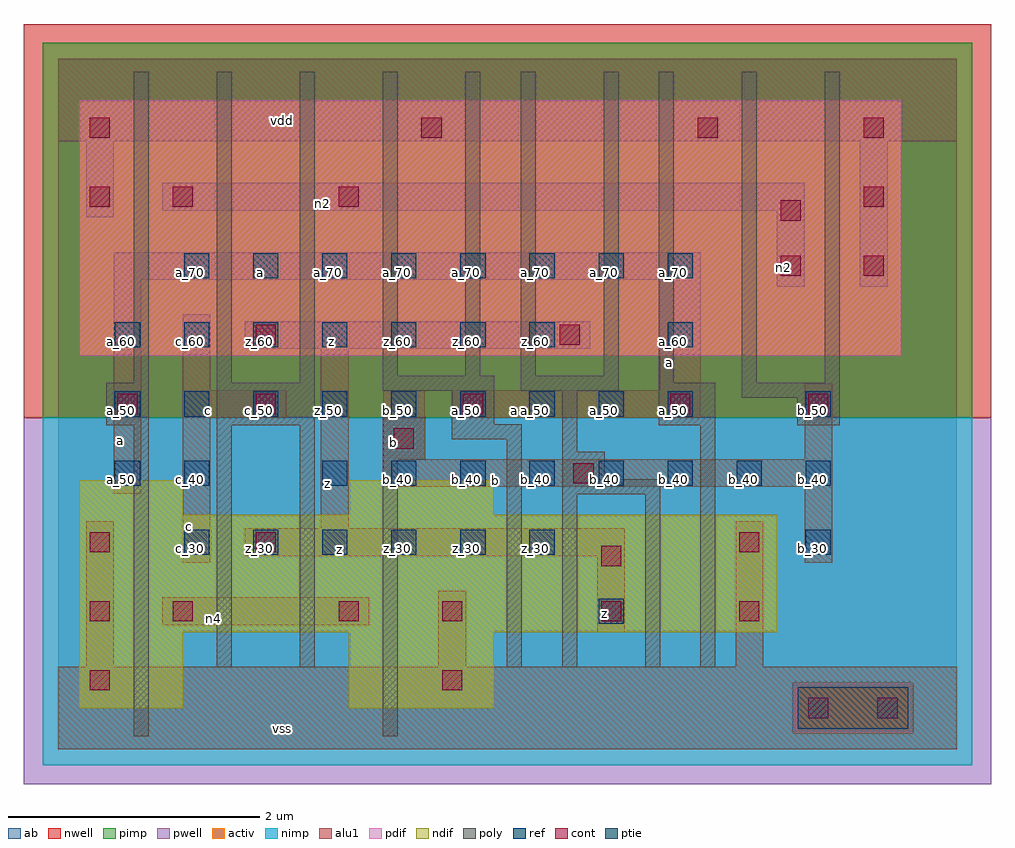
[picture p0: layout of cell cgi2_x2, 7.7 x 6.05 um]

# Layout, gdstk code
import gdstk
lib = gdstk.Library(unit=1e-6, precision=2.5e-09)
def R(c, l, rs):  # rectangles x0, y0, x1, y1
    for r in rs: c.add(gdstk.rectangle(r[:2], r[2:], *l))
def A(c, l, x, y, w, h, nx, ny, dx, dy):  # array of equal rectangles
    R(c, l, [(x+i*dx, y+j*dy, x+i*dx+w, y+j*dy+h) for i in range(nx) for j in range(ny)])
ndif = (3, 0)
pdif = (4, 0)
ptie = (6, 0)
ref = (24, 0)
cont = (25, 0)
pwell = (41, 0)
nwell = (42, 0)
activ = (43, 0)
pimp = (44, 0)
nimp = (45, 0)
poly = (46, 0)
alu1 = (49, 0)
ab = (63, 0)

cgi2_x2 = lib.new_cell('cgi2_x2')
R(cgi2_x2, ndif, [(0.165,0.33,0.99,0.935), (2.31,0.33,3.465,0.935), (0.165,0.935,5.72,1.87), (0.165,1.87,0.99,2.145), (2.31,1.87,3.465,2.145)])
R(cgi2_x2, pdif, [(0.165,3.135,6.71,5.17)])
R(cgi2_x2, ptie, [(5.885,0.165,6.765,0.495)])
A(cgi2_x2, ref, 1, 1.55, 0.2, 0.2, 6, 1, 0.55, 0)
A(cgi2_x2, ref, 2.1, 2.1, 0.2, 0.2, 8, 1, 0.55, 0)
A(cgi2_x2, ref, 0.45, 2.65, 0.2, 0.2, 9, 1, 0.55, 0)
A(cgi2_x2, ref, 0.45, 3.2, 0.2, 0.2, 7, 1, 0.55, 0)
A(cgi2_x2, ref, 1, 3.75, 0.2, 0.2, 8, 1, 0.55, 0)
R(cgi2_x2, ref, [(4.3,1,4.5,1.2), (5.95,1.55,6.15,1.75), (0.45,2.1,0.65,2.3), (1,2.1,1.2,2.3), (5.95,2.65,6.15,2.85), (4.85,3.2,5.05,3.4)])
A(cgi2_x2, cont, 0.25, 0.47, 0.16, 0.16, 1, 3, 0, 0.55)
A(cgi2_x2, cont, 1.57, 2.67, 0.16, 0.16, 3, 1, 1.65, 0)
A(cgi2_x2, cont, 6.41, 3.77, 0.16, 0.16, 1, 3, 0, 0.55)
R(cgi2_x2, cont, [(5.97,0.25,6.13,0.41), (6.52,0.25,6.68,0.41), (3.055,0.47,3.215,0.63), (0.91,1.02,1.07,1.18), (2.23,1.02,2.39,1.18), (3.055,1.02,3.215,1.18), (4.32,1.02,4.48,1.18), (5.42,1.02,5.58,1.18), (4.32,1.46,4.48,1.62), (1.57,1.57,1.73,1.73), (5.42,1.57,5.58,1.73), (4.1,2.12,4.26,2.28), (2.67,2.395,2.83,2.555), (0.47,2.67,0.63,2.83), (5.97,2.67,6.13,2.83), (1.57,3.22,1.73,3.38), (3.99,3.22,4.15,3.38), (5.75,3.77,5.91,3.93), (5.75,4.21,5.91,4.37), (0.25,4.32,0.41,4.48), (0.91,4.32,1.07,4.48), (2.23,4.32,2.39,4.48), (0.25,4.87,0.41,5.03), (2.89,4.87,3.05,5.03), (5.09,4.87,5.25,5.03)])
R(cgi2_x2, pwell, [(-0.275,-0.275,7.425,2.64)])
R(cgi2_x2, nwell, [(-0.275,2.64,7.425,5.775)])
R(cgi2_x2, activ, [(5.885,0.165,6.765,0.495), (0.165,0.33,0.99,0.935), (2.31,0.33,3.465,0.935), (0.165,0.935,5.72,1.87), (0.165,1.87,0.99,2.145), (2.31,1.87,3.465,2.145), (0.165,3.135,6.71,5.17)])
R(cgi2_x2, pimp, [(5.845,0.125,6.805,0.535), (-0.125,2.64,7.275,5.625)])
R(cgi2_x2, nimp, [(-0.125,-0.125,7.275,0.125), (-0.125,0.125,5.845,0.535), (6.805,0.125,7.275,0.535), (-0.125,0.535,7.275,2.64)])
A(cgi2_x2, poly, 0.6, 2.92, 0.12, 2.475, 3, 1, 0.66, 0)
A(cgi2_x2, poly, 4.78, 2.92, 0.12, 2.475, 3, 1, 0.66, 0)
R(cgi2_x2, poly, [(0.6,0.105,0.72,2.58), (2.58,0.105,2.7,2.305), (1.26,0.655,1.38,2.58), (1.92,0.655,2.04,2.58), (3.57,0.655,3.69,2.47), (4.01,0.655,4.13,2.03), (4.67,0.655,4.79,2.03), (5.11,0.655,5.23,2.58), (4.01,2.03,4.79,2.15), (4.01,2.15,4.35,2.37), (2.58,2.305,2.92,2.645), (4.01,2.37,4.13,2.855), (3.13,2.47,3.69,2.59), (0.38,2.58,0.72,2.92), (1.26,2.58,2.04,2.92), (4.78,2.58,5.23,2.92), (5.88,2.58,6.22,2.8), (3.13,2.59,3.47,2.855), (5.44,2.8,6.22,2.92), (2.58,2.855,3.47,2.975), (3.68,2.855,4.46,2.975), (2.58,2.975,2.7,5.395), (3.24,2.975,3.36,5.395), (3.68,2.975,3.8,5.395), (4.34,2.975,4.46,5.395)])
R(cgi2_x2, alu1, [(0,0,7.15,0.66), (0.22,0.66,0.44,1.815), (3.025,0.66,3.245,1.265), (5.39,0.66,5.61,1.815), (4.29,0.935,4.51,1.54), (0.825,0.99,2.475,1.21), (0.99,1.485,1.21,2.64), (5.94,1.485,6.16,2.09), (1.485,1.54,4.51,1.76), (2.09,1.76,2.31,3.19), (0.44,2.035,0.66,3.74), (2.585,2.09,6.16,2.31), (2.585,2.31,2.915,2.86), (5.94,2.31,6.16,2.915), (0.99,2.64,1.815,2.86), (3.135,2.64,5.115,2.86), (0.99,2.86,1.21,3.465), (4.785,2.86,5.115,3.74), (1.485,3.19,4.235,3.41), (5.72,3.685,5.94,4.29), (6.38,3.685,6.6,4.84), (0.44,3.74,5.115,3.96), (0.22,4.235,0.44,4.84), (0.825,4.29,5.94,4.51), (0,4.84,7.15,5.5)])
R(cgi2_x2, ab, [(0,0,7.15,5.5)])
cgi2_x2.add(gdstk.Label('vss', (1.7875,0.165), layer=49, texttype=0))
cgi2_x2.add(gdstk.Label('z', (4.345,1.085), layer=49, texttype=0))
cgi2_x2.add(gdstk.Label('n4', (1.2375,1.045), layer=49, texttype=0))
cgi2_x2.add(gdstk.Label('z', (2.24,1.595), layer=49, texttype=0))
cgi2_x2.add(gdstk.Label('b', (3.4775,2.145), layer=49, texttype=0))
cgi2_x2.add(gdstk.Label('a', (3.63,2.695), layer=49, texttype=0))
cgi2_x2.add(gdstk.Label('b', (2.6675,2.4475), layer=49, texttype=0))
cgi2_x2.add(gdstk.Label('n2', (5.775,3.835), layer=49, texttype=0))
cgi2_x2.add(gdstk.Label('a', (4.8675,3.08), layer=49, texttype=0))
cgi2_x2.add(gdstk.Label('z', (2.145,2.1175), layer=49, texttype=0))
cgi2_x2.add(gdstk.Label('c', (1.045,1.7725), layer=49, texttype=0))
cgi2_x2.add(gdstk.Label('c', (1.195,2.695), layer=49, texttype=0))
cgi2_x2.add(gdstk.Label('z', (2.1725,3.245), layer=49, texttype=0))
cgi2_x2.add(gdstk.Label('a', (0.495,2.46), layer=49, texttype=0))
cgi2_x2.add(gdstk.Label('a', (1.6075,3.795), layer=49, texttype=0))
cgi2_x2.add(gdstk.Label('n2', (2.1025,4.345), layer=49, texttype=0))
cgi2_x2.add(gdstk.Label('vdd', (1.7875,5.005), layer=49, texttype=0))
cgi2_x2.add(gdstk.Label('b_40', (6,2.15), layer=24, texttype=0))
cgi2_x2.add(gdstk.Label('b_30', (6,1.6), layer=24, texttype=0))
cgi2_x2.add(gdstk.Label('b_50', (6,2.7), layer=24, texttype=0))
cgi2_x2.add(gdstk.Label('c_40', (1.05,2.15), layer=24, texttype=0))
cgi2_x2.add(gdstk.Label('c_50', (1.6,2.7), layer=24, texttype=0))
cgi2_x2.add(gdstk.Label('c_60', (1.05,3.25), layer=24, texttype=0))
cgi2_x2.add(gdstk.Label('c_50', (1.05,2.7), layer=24, texttype=0))
cgi2_x2.add(gdstk.Label('b_40', (5.45,2.15), layer=24, texttype=0))
cgi2_x2.add(gdstk.Label('z_60', (3.8,3.25), layer=24, texttype=0))
cgi2_x2.add(gdstk.Label('z_60', (3.25,3.25), layer=24, texttype=0))
cgi2_x2.add(gdstk.Label('z_60', (2.7,3.25), layer=24, texttype=0))
cgi2_x2.add(gdstk.Label('z_60', (2.15,3.25), layer=24, texttype=0))
cgi2_x2.add(gdstk.Label('z_60', (1.6,3.25), layer=24, texttype=0))
cgi2_x2.add(gdstk.Label('z_50', (2.15,2.7), layer=24, texttype=0))
cgi2_x2.add(gdstk.Label('z_40', (2.15,2.15), layer=24, texttype=0))
cgi2_x2.add(gdstk.Label('z_30', (2.15,1.6), layer=24, texttype=0))
cgi2_x2.add(gdstk.Label('z_30', (1.6,1.6), layer=24, texttype=0))
cgi2_x2.add(gdstk.Label('z_30', (2.7,1.6), layer=24, texttype=0))
cgi2_x2.add(gdstk.Label('z_30', (3.25,1.6), layer=24, texttype=0))
cgi2_x2.add(gdstk.Label('z_30', (3.8,1.6), layer=24, texttype=0))
cgi2_x2.add(gdstk.Label('a_50', (0.5,2.7), layer=24, texttype=0))
cgi2_x2.add(gdstk.Label('a_50', (3.25,2.7), layer=24, texttype=0))
cgi2_x2.add(gdstk.Label('a_50', (4.9,2.7), layer=24, texttype=0))
cgi2_x2.add(gdstk.Label('a_70', (4.9,3.8), layer=24, texttype=0))
cgi2_x2.add(gdstk.Label('a_50', (3.8,2.7), layer=24, texttype=0))
cgi2_x2.add(gdstk.Label('a_50', (4.35,2.7), layer=24, texttype=0))
cgi2_x2.add(gdstk.Label('a_70', (4.35,3.8), layer=24, texttype=0))
cgi2_x2.add(gdstk.Label('a_70', (3.8,3.8), layer=24, texttype=0))
cgi2_x2.add(gdstk.Label('a_70', (3.25,3.8), layer=24, texttype=0))
cgi2_x2.add(gdstk.Label('a_70', (2.7,3.8), layer=24, texttype=0))
cgi2_x2.add(gdstk.Label('a_70', (2.15,3.8), layer=24, texttype=0))
cgi2_x2.add(gdstk.Label('a_70', (1.6,3.8), layer=24, texttype=0))
cgi2_x2.add(gdstk.Label('a_70', (1.05,3.8), layer=24, texttype=0))
cgi2_x2.add(gdstk.Label('a_60', (0.5,3.25), layer=24, texttype=0))
cgi2_x2.add(gdstk.Label('a_60', (4.9,3.25), layer=24, texttype=0))
cgi2_x2.add(gdstk.Label('b_40', (2.7,2.15), layer=24, texttype=0))
cgi2_x2.add(gdstk.Label('b_40', (4.9,2.15), layer=24, texttype=0))
cgi2_x2.add(gdstk.Label('b_40', (4.35,2.15), layer=24, texttype=0))
cgi2_x2.add(gdstk.Label('b_40', (3.8,2.15), layer=24, texttype=0))
cgi2_x2.add(gdstk.Label('b_40', (3.25,2.15), layer=24, texttype=0))
cgi2_x2.add(gdstk.Label('c_30', (1.05,1.6), layer=24, texttype=0))
cgi2_x2.add(gdstk.Label('b_50', (2.7,2.7), layer=24, texttype=0))
cgi2_x2.add(gdstk.Label('z_20', (4.35,1.05), layer=24, texttype=0))
cgi2_x2.add(gdstk.Label('a_50', (0.5,2.15), layer=24, texttype=0))

lib.write_gds('cgi2_x2.gds')
